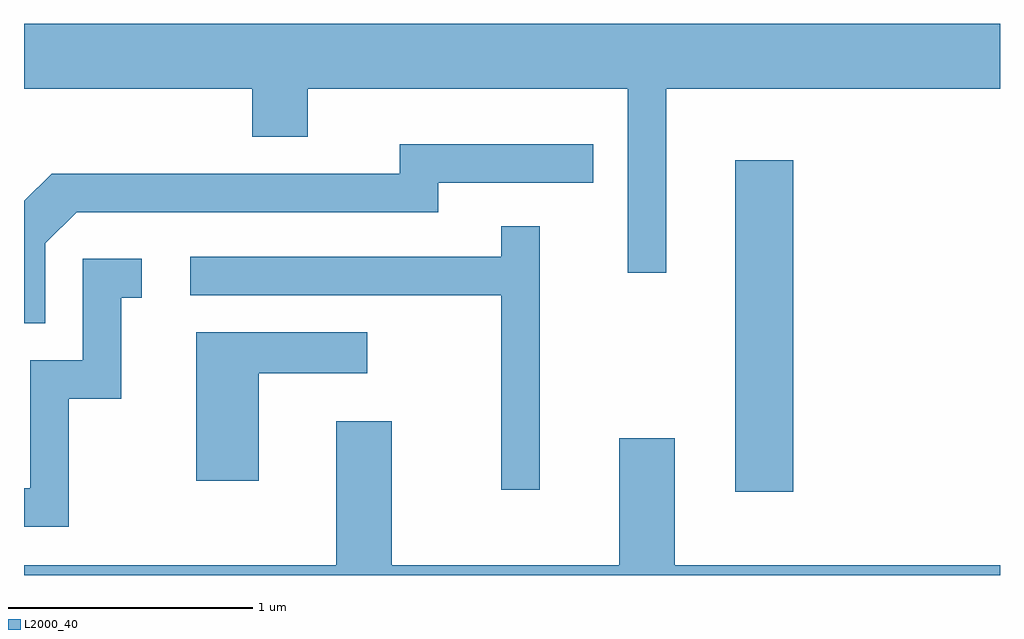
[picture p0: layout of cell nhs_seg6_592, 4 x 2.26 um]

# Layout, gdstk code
import gdstk
lib = gdstk.Library(unit=1e-6, precision=1e-09)
def R(c, l, rs):  # rectangles x0, y0, x1, y1
    for r in rs: c.add(gdstk.rectangle(r[:2], r[2:], *l))
def P(c, l, *ps):  # polygons
    for p in ps: c.add(gdstk.Polygon(p, *l))
L2000_40 = (2000, 40)

nhs_seg6_592 = lib.new_cell('nhs_seg6_592')
R(nhs_seg6_592, L2000_40, [(204.526,1650.506,204.764,1651.864)])
P(nhs_seg6_592, L2000_40, [(201.611,1652.156),(202.546,1652.156),(202.546,1651.961),(202.774,1651.961),(202.774,1652.156),(204.086,1652.156),(204.086,1651.403),(204.244,1651.403),(204.244,1652.156),(205.611,1652.156),(205.611,1652.424),(201.611,1652.424)],
  [(201.699,1651.524),(201.827,1651.651),(203.309,1651.651),(203.309,1651.771),(203.943,1651.771),(203.943,1651.929),(203.151,1651.929),(203.151,1651.809),(201.724,1651.809),(201.611,1651.697),(201.611,1651.196),(201.699,1651.196)],
  [(203.724,1651.593),(203.566,1651.593),(203.566,1651.469),(202.293,1651.469),(202.293,1651.311),(203.566,1651.311),(203.566,1650.513),(203.724,1650.513)],
  [(201.794,1650.886),(202.009,1650.886),(202.009,1651.301),(202.093,1651.301),(202.093,1651.459),(201.851,1651.459),(201.851,1651.044),(201.636,1651.044),(201.636,1650.519),(201.611,1650.519),(201.611,1650.361),(201.794,1650.361)],
  [(202.574,1650.991),(203.018,1650.991),(203.018,1651.159),(202.316,1651.159),(202.316,1650.551),(202.574,1650.551)],
  [(205.611,1650.204),(204.279,1650.204),(204.279,1650.724),(204.051,1650.724),(204.051,1650.204),(203.119,1650.204),(203.119,1650.794),(202.891,1650.794),(202.891,1650.204),(201.611,1650.204),(201.611,1650.162),(205.611,1650.162)])

lib.write_gds('nhs_seg6_592.gds')
